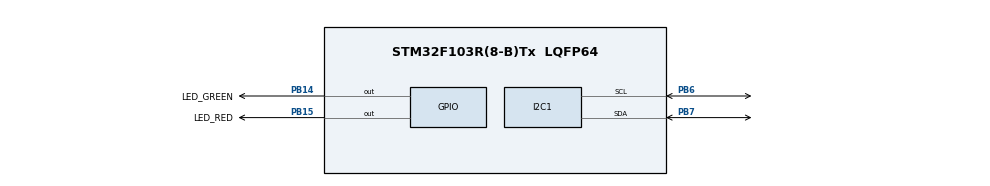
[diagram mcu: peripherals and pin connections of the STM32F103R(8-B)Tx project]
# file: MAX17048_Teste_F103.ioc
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Mcu.Family=STM32F1
Mcu.Name=STM32F103R(8-B)Tx
Mcu.Package=LQFP64
NVIC.PriorityGroup=NVIC_PRIORITYGROUP_4
PA13.Mode=Serial_Wire
PA13.Signal=SYS_JTMS-SWDIO
PA14.Mode=Serial_Wire
PA14.Signal=SYS_JTCK-SWCLK
PB14.GPIO_Label=LED_GREEN
PB14.Signal=GPIO_Output
PB15.GPIO_Label=LED_RED
PB15.Signal=GPIO_Output
PB6.Mode=I2C
PB6.Signal=I2C1_SCL
PB7.Mode=I2C
PB7.Signal=I2C1_SDA
ProjectManager.HeapSize=0x200
ProjectManager.StackSize=0x400
ProjectManager.TargetToolchain=STM32CubeIDE
RCC.APB1Freq_Value=8000000
RCC.APB2Freq_Value=8000000
board=custom

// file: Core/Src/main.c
/* USER CODE BEGIN Header */
/**
  ******************************************************************************
  * @file           : main.c
  * @brief          : Main program body
  ******************************************************************************
  * @attention
  *
  * Copyright (c) 2025 STMicroelectronics.
  * All rights reserved.
  *
  * This software is licensed under terms that can be found in the LICENSE file
  * in the root directory of this software component.
  * If no LICENSE file comes with this software, it is provided AS-IS.
  *
  ******************************************************************************
  */
/* USER CODE END Header */
#include "main.h"

/* USER CODE BEGIN Includes */
#include "max17048.h"
#include <stdio.h>
/* USER CODE END Includes */

I2C_HandleTypeDef hi2c1;

/* USER CODE BEGIN PV */
MAX17048_HandleTypeDef battGauge;

/* USER CODE END PV */

void SystemClock_Config(void);
static void MX_GPIO_Init(void);
static void MX_I2C1_Init(void);

int main(void)
{

  /* MCU Configuration--------------------------------------------------------*/

  /* Reset of all peripherals, Initializes the Flash interface and the Systick. */
  HAL_Init();

  /* Configure the system clock */
  SystemClock_Config();

  /* Initialize all configured peripherals */
  MX_GPIO_Init();
  MX_I2C1_Init();
  /* USER CODE BEGIN 2 */

  MAX17048_HandleTypeDef battGauge; //Inicializacao do sensor
  MAX17048_Init(&battGauge, &hi2c1);

  float soc = 0.0f; //Carga -> SOC State of Charge
  float vbat = 0.0f; //Tensao da bateria

  /* Inicializa LEDs */
  HAL_GPIO_WritePin(GPIOB, LED_GREEN_Pin, GPIO_PIN_RESET);
  HAL_GPIO_WritePin(GPIOB,   LED_RED_Pin,   GPIO_PIN_RESET);

  /* USER CODE END 2 */

  /* Infinite loop */
  /* USER CODE BEGIN WHILE */
  while (1)
  {
	  MAX17048_GetSOC(&battGauge, &soc);
	  MAX17048_GetVoltage(&battGauge, &vbat);
	  HAL_Delay(1000);

	  //Fiz um codigo para testar se ele esta lendo a carga com led verde e vermehla
	          if (soc > 50.0f) {
	              // Bateria maior que 50% -> verde
	              HAL_GPIO_WritePin(GPIOB, LED_GREEN_Pin, GPIO_PIN_SET);
	              HAL_GPIO_WritePin(GPIOB,   LED_RED_Pin,   GPIO_PIN_RESET);
	          } else {
	              // Bateria <= 50% -> vermelho
	              HAL_GPIO_WritePin(GPIOB, LED_GREEN_Pin, GPIO_PIN_RESET);
	              HAL_GPIO_WritePin(GPIOB,   LED_RED_Pin,   GPIO_PIN_SET);
	          }

    /* USER CODE END WHILE */

  }
}

void SystemClock_Config(void)
{
  RCC_OscInitTypeDef RCC_OscInitStruct = {0};
  RCC_ClkInitTypeDef RCC_ClkInitStruct = {0};

  /** Initializes the RCC Oscillators according to the specified parameters
  * in the RCC_OscInitTypeDef structure.
  */
  RCC_OscInitStruct.OscillatorType = RCC_OSCILLATORTYPE_HSI;
  RCC_OscInitStruct.HSIState = RCC_HSI_ON;
  RCC_OscInitStruct.HSICalibrationValue = RCC_HSICALIBRATION_DEFAULT;
  RCC_OscInitStruct.PLL.PLLState = RCC_PLL_NONE;
  if (HAL_RCC_OscConfig(&RCC_OscInitStruct) != HAL_OK)
  {
    Error_Handler();
  }

  /** Initializes the CPU, AHB and APB buses clocks
  */
  RCC_ClkInitStruct.ClockType = RCC_CLOCKTYPE_HCLK|RCC_CLOCKTYPE_SYSCLK
                              |RCC_CLOCKTYPE_PCLK1|RCC_CLOCKTYPE_PCLK2;
  RCC_ClkInitStruct.SYSCLKSource = RCC_SYSCLKSOURCE_HSI;
  RCC_ClkInitStruct.AHBCLKDivider = RCC_SYSCLK_DIV1;
  RCC_ClkInitStruct.APB1CLKDivider = RCC_HCLK_DIV1;
  RCC_ClkInitStruct.APB2CLKDivider = RCC_HCLK_DIV1;

  if (HAL_RCC_ClockConfig(&RCC_ClkInitStruct, FLASH_LATENCY_0) != HAL_OK)
  {
    Error_Handler();
  }
}

static void MX_I2C1_Init(void)
{

  hi2c1.Instance = I2C1;
  hi2c1.Init.ClockSpeed = 100000;
  hi2c1.Init.DutyCycle = I2C_DUTYCYCLE_2;
  hi2c1.Init.OwnAddress1 = 0;
  hi2c1.Init.AddressingMode = I2C_ADDRESSINGMODE_7BIT;
  hi2c1.Init.DualAddressMode = I2C_DUALADDRESS_DISABLE;
  hi2c1.Init.OwnAddress2 = 0;
  hi2c1.Init.GeneralCallMode = I2C_GENERALCALL_DISABLE;
  hi2c1.Init.NoStretchMode = I2C_NOSTRETCH_DISABLE;
  if (HAL_I2C_Init(&hi2c1) != HAL_OK)
  {
    Error_Handler();
  }

}

static void MX_GPIO_Init(void)
{
  GPIO_InitTypeDef GPIO_InitStruct = {0};

  /* GPIO Ports Clock Enable */
  __HAL_RCC_GPIOB_CLK_ENABLE();
  __HAL_RCC_GPIOA_CLK_ENABLE();

  /*Configure GPIO pin Output Level */
  HAL_GPIO_WritePin(GPIOB, LED_GREEN_Pin|LED_RED_Pin, GPIO_PIN_RESET);

  /*Configure GPIO pins : LED_GREEN_Pin LED_RED_Pin */
  GPIO_InitStruct.Pin = LED_GREEN_Pin|LED_RED_Pin;
  GPIO_InitStruct.Mode = GPIO_MODE_OUTPUT_PP;
  GPIO_InitStruct.Pull = GPIO_NOPULL;
  GPIO_InitStruct.Speed = GPIO_SPEED_FREQ_LOW;
  HAL_GPIO_Init(GPIOB, &GPIO_InitStruct);

}

void Error_Handler(void)
{
  __disable_irq();
  while (1)
  {
  }
}
